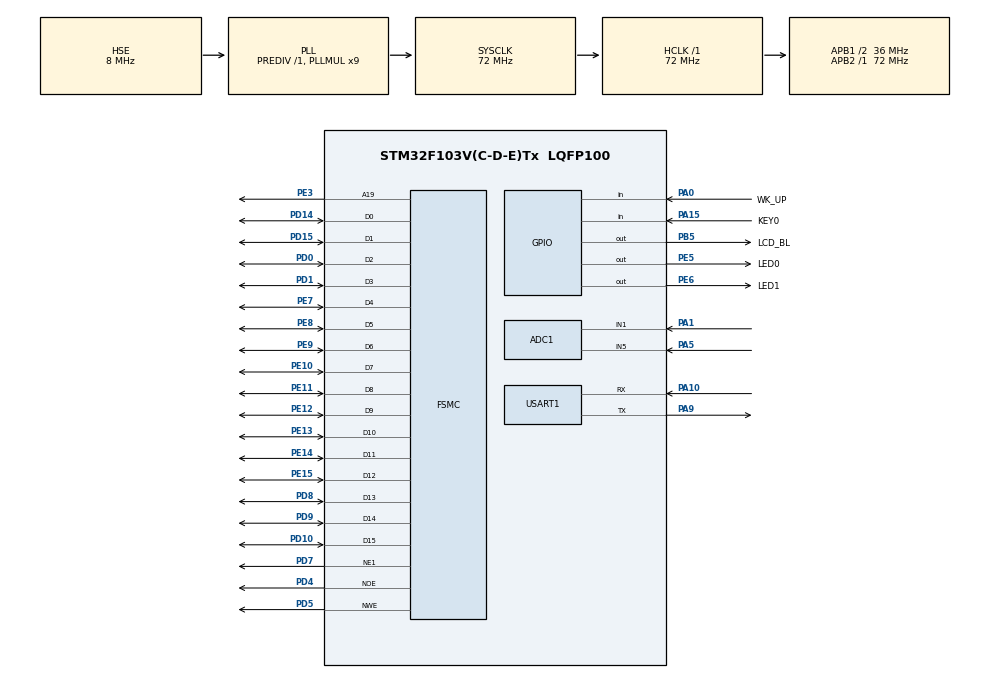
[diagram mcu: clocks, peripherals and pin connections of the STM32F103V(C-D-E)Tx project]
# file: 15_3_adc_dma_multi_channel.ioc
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ADC1.Channel-0\#ChannelRegularConversion=ADC_CHANNEL_1
ADC1.Channel-1\#ChannelRegularConversion=ADC_CHANNEL_5
ADC1.ContinuousConvMode=ENABLE
ADC1.NbrOfConversion=2
ADC1.NbrOfConversionFlag=1
ADC1.Rank-0\#ChannelRegularConversion=1
ADC1.Rank-1\#ChannelRegularConversion=2
ADC1.SamplingTime-0\#ChannelRegularConversion=ADC_SAMPLETIME_239CYCLES_5
ADC1.SamplingTime-1\#ChannelRegularConversion=ADC_SAMPLETIME_239CYCLES_5
ADC1.master=1
Dma.ADC1.0.Direction=DMA_PERIPH_TO_MEMORY
Dma.ADC1.0.Instance=DMA1_Channel1
Dma.ADC1.0.MemDataAlignment=DMA_MDATAALIGN_HALFWORD
Dma.ADC1.0.MemInc=DMA_MINC_ENABLE
Dma.ADC1.0.Mode=DMA_NORMAL
Dma.ADC1.0.PeriphDataAlignment=DMA_PDATAALIGN_HALFWORD
Dma.ADC1.0.PeriphInc=DMA_PINC_DISABLE
Dma.ADC1.0.Priority=DMA_PRIORITY_MEDIUM
Dma.Request0=ADC1
FSMC.AddressSetupTime1=0
FSMC.DataSetupTime1=15
FSMC.ExtendedAddressSetupTime1=0
FSMC.ExtendedDataSetupTime1=1
FSMC.ExtendedMode1=FSMC_EXTENDED_MODE_ENABLE
Mcu.Family=STM32F1
Mcu.Name=STM32F103V(C-D-E)Tx
Mcu.Package=LQFP100
NVIC.DMA1_Channel1_IRQn=true\:2\:1\:true\:false\:true\:false\:true\:true
NVIC.PriorityGroup=NVIC_PRIORITYGROUP_2
NVIC.USART1_IRQn=true\:2\:2\:true\:false\:true\:true\:true\:true
OSC_IN.Mode=HSE-External-Oscillator
OSC_IN.Signal=RCC_OSC_IN
OSC_OUT.Mode=HSE-External-Oscillator
OSC_OUT.Signal=RCC_OSC_OUT
PA0-WKUP.GPIO_Label=WK_UP
PA0-WKUP.GPIO_PuPd=GPIO_PULLDOWN
PA0-WKUP.Signal=GPIO_Input
PA1.Signal=ADCx_IN1
PA10.Mode=Asynchronous
PA10.Signal=USART1_RX
PA13.Mode=Serial_Wire
PA13.Signal=SYS_JTMS-SWDIO
PA14.Mode=Serial_Wire
PA14.Signal=SYS_JTCK-SWCLK
PA15.GPIO_Label=KEY0
PA15.GPIO_PuPd=GPIO_PULLDOWN
PA15.Signal=GPIO_Input
PA5.Signal=ADCx_IN5
PA9.Mode=Asynchronous
PA9.Signal=USART1_TX
PB5.GPIO_Label=LCD_BL
PB5.GPIO_PuPd=GPIO_PULLUP
PB5.GPIO_Speed=GPIO_SPEED_FREQ_HIGH
PB5.PinState=GPIO_PIN_SET
PB5.Signal=GPIO_Output
PC14-OSC32_IN.Mode=LSE-External-Oscillator
PC14-OSC32_IN.Signal=RCC_OSC32_IN
PC15-OSC32_OUT.Mode=LSE-External-Oscillator
PC15-OSC32_OUT.Signal=RCC_OSC32_OUT
PD0.Mode=16b-d1
PD0.Signal=FSMC_D2
PD1.Mode=16b-d1
PD1.Signal=FSMC_D3
PD10.Mode=16b-d1
PD10.Signal=FSMC_D15
PD14.Mode=16b-d1
PD14.Signal=FSMC_D0
PD15.Mode=16b-d1
PD15.Signal=FSMC_D1
PD4.Mode=Lcd1
PD4.Signal=FSMC_NOE
PD5.Mode=Lcd1
PD5.Signal=FSMC_NWE
PD7.Mode=NorPsramChipSelect1_1
PD7.Signal=FSMC_NE1
PD8.Mode=16b-d1
PD8.Signal=FSMC_D13
PD9.Mode=16b-d1
PD9.Signal=FSMC_D14
PE10.Mode=16b-d1
PE10.Signal=FSMC_D7
PE11.Mode=16b-d1
PE11.Signal=FSMC_D8
PE12.Mode=16b-d1
PE12.Signal=FSMC_D9
PE13.Mode=16b-d1
PE13.Signal=FSMC_D10
PE14.Mode=16b-d1
PE14.Signal=FSMC_D11
PE15.Mode=16b-d1
PE15.Signal=FSMC_D12
PE3.Mode=A19_1
PE3.Signal=FSMC_A19
PE5.GPIO_Label=LED0
PE5.GPIO_PuPd=GPIO_PULLUP
PE5.GPIO_Speed=GPIO_SPEED_FREQ_HIGH
PE5.PinState=GPIO_PIN_SET
PE5.Signal=GPIO_Output
PE6.GPIO_Label=LED1
PE6.GPIO_PuPd=GPIO_PULLUP
PE6.GPIO_Speed=GPIO_SPEED_FREQ_HIGH
PE6.PinState=GPIO_PIN_SET
PE6.Signal=GPIO_Output
PE7.Mode=16b-d1
PE7.Signal=FSMC_D4
PE8.Mode=16b-d1
PE8.Signal=FSMC_D5
PE9.Mode=16b-d1
PE9.Signal=FSMC_D6
ProjectManager.HeapSize=0x200
ProjectManager.StackSize=0x400
ProjectManager.TargetToolchain=STM32CubeIDE
RCC.AHBFreq_Value=72000000
RCC.APB1CLKDivider=RCC_HCLK_DIV2
RCC.APB1Freq_Value=36000000
RCC.APB1TimFreq_Value=72000000
RCC.APB2Freq_Value=72000000
RCC.APB2TimFreq_Value=72000000
RCC.HCLKFreq_Value=72000000
RCC.PLLMUL=RCC_PLL_MUL9
RCC.PLLSourceVirtual=RCC_PLLSOURCE_HSE
RCC.SYSCLKFreq_VALUE=72000000
RCC.SYSCLKSource=RCC_SYSCLKSOURCE_PLLCLK
RCC.USBFreq_Value=72000000
SH.ADCx_IN1.0=ADC1_IN1,IN1
SH.ADCx_IN5.0=ADC1_IN5,IN5
USART1.VirtualMode=VM_ASYNC
board=custom

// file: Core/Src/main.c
/* USER CODE BEGIN Header */
/**
 ****************************************************************************************************
 * @file        main.c
 * @author      ALIENTEK
 * @brief       adc_dma_multi_channel code
 * @license     Copyright (C) 2012-2024, ALIENTEK
 ****************************************************************************************************
 * @attention
 *
 * platform     : ALIENTEK M100-STM32F103 board
 * website      : www.alientek.com
 * forum        : www.openedv.com/forum.php
 *
 * change logs  :
 * version      data         notes
 * V1.0         20240409     the first version
 *
 ****************************************************************************************************
 */
/* USER CODE END Header */
#include "main.h"
#include "adc.h"
#include "dma.h"
#include "usart.h"
#include "gpio.h"
#include "fsmc.h"

/* USER CODE BEGIN Includes */
#include "../../BSP/LED/led.h"
#include "../../BSP/KEY/key.h"
#include "../../BSP/LCD/lcd.h"
/* USER CODE END Includes */

/* USER CODE BEGIN PV */

#define ADC_DMA_BUF_SIZE      2 * 50             /* ADC DMA buffer size */
static uint16_t g_adc_dma_buf[ADC_DMA_BUF_SIZE]; /* ADC DMA buffer */

extern uint8_t g_adc_dma_sta; /* DMA transfer completion flag */
extern DMA_HandleTypeDef hdma_adc1;
/* USER CODE END PV */

void SystemClock_Config(void);

/* USER CODE BEGIN 0 */
/**
 * @brief   Displays information about the experiment
 * @param   None
 * @retval  None
 */
void stm32f103ve_show_mesg(void)
{
	/* The serial port outputs the experimental information */
	printf("\n");
	printf("********************************\r\n");
	printf("STM32F103\r\n");
	printf("ADC_DMA_Multi_Channel Test\r\n");
	printf("ATOM@ALIENTEK\r\n");
	printf("********************************\r\n");
	printf("\r\n");
}
/* USER CODE END 0 */

int main(void)
{
  /* USER CODE BEGIN 1 */
  uint8_t j;
  uint16_t i;
  uint32_t sum;
  uint16_t adcdata;
  float temp;
  /* USER CODE END 1 */

  /* MCU Configuration--------------------------------------------------------*/

  /* Reset of all peripherals, Initializes the Flash interface and the Systick. */
  HAL_Init();

  /* Configure the system clock */
  SystemClock_Config();

  /* Initialize all configured peripherals */
  MX_GPIO_Init();
  MX_DMA_Init();
  MX_USART1_UART_Init();
  MX_FSMC_Init();
  MX_ADC1_Init();
  /* USER CODE BEGIN 2 */
  lcd_init();                                     /* Initialize LCD */
  stm32f103ve_show_mesg();
  HAL_DMA_Start_IT(&hdma_adc1, (uint32_t)&ADC1->DR, (uint32_t)&g_adc_dma_buf, 0);
  HAL_ADC_Start_DMA(&hadc1, (uint32_t *)g_adc_dma_buf, ADC_DMA_BUF_SIZE);

  lcd_show_string(30, 50, 200, 16, 16, "STM32", RED);
  lcd_show_string(30, 70, 200, 16, 16, "ADC DMA TEST", RED);
  lcd_show_string(30, 90, 200, 16, 16, "ATOM@ALIENTEK", RED);

  lcd_show_string(30, 110, 200, 16, 16, "ADC1_CH1_VAL:0", BLUE);
  lcd_show_string(30, 130, 200, 16, 16, "ADC1_CH1_VOL:0.000V", BLUE);

  lcd_show_string(30, 150, 200, 16, 16, "ADC1_CH5_VAL:0", BLUE);
  lcd_show_string(30, 170, 200, 16, 16, "ADC1_CH5_VOL:0.000V", BLUE);

  adc_dma_enable(ADC_DMA_BUF_SIZE);   /* Start the ADC DMA acquisition */
  /* USER CODE END 2 */

  /* Infinite loop */
  /* USER CODE BEGIN WHILE */
  while (1)
  {
    if (g_adc_dma_sta == 1)
    {
      for (j = 0; j < 2; j++)
      {
        /* The average value of the ADC data acquired by DMA is calculated */
        sum = 0;

        for (i = 0; i < (ADC_DMA_BUF_SIZE / 2); i++) /* The multiple sampled values of the ADC are mean-filtered */
        {
          sum += g_adc_dma_buf[(2 * i) + j];
        }

        adcdata = sum / (ADC_DMA_BUF_SIZE / 2);     /* averaging */

        /* displaying results */
        lcd_show_xnum(134, 110 + (j * 40), adcdata, 4, 16, 0, BLUE);

        temp = (float)adcdata * (3.3 / 4096 ) ;    /* Calculate the actual voltage value (1000 times larger) */
        adcdata = temp;
        lcd_show_xnum(134, 130 + (j * 40), adcdata, 1, 16, 0, BLUE);

        temp -= adcdata;
        temp *= 1000;
        lcd_show_xnum(150, 130 + (j * 40), temp, 3, 16, 0X80, BLUE);

        g_adc_dma_sta = 0;                         /* Clear the DMA acquisition completion status flag */
        adc_dma_enable(ADC_DMA_BUF_SIZE);
      }
    }

    LED0_TOGGLE();             /* flashing LED0 indicates that the system is running */
    HAL_Delay(500);            /* delay 500ms */
    /* USER CODE END WHILE */

  }
}

void SystemClock_Config(void)
{
  RCC_OscInitTypeDef RCC_OscInitStruct = {0};
  RCC_ClkInitTypeDef RCC_ClkInitStruct = {0};
  RCC_PeriphCLKInitTypeDef PeriphClkInit = {0};

  /** Initializes the RCC Oscillators according to the specified parameters
  * in the RCC_OscInitTypeDef structure.
  */
  RCC_OscInitStruct.OscillatorType = RCC_OSCILLATORTYPE_HSE;
  RCC_OscInitStruct.HSEState = RCC_HSE_ON;
  RCC_OscInitStruct.HSEPredivValue = RCC_HSE_PREDIV_DIV1;
  RCC_OscInitStruct.HSIState = RCC_HSI_ON;
  RCC_OscInitStruct.PLL.PLLState = RCC_PLL_ON;
  RCC_OscInitStruct.PLL.PLLSource = RCC_PLLSOURCE_HSE;
  RCC_OscInitStruct.PLL.PLLMUL = RCC_PLL_MUL9;
  if (HAL_RCC_OscConfig(&RCC_OscInitStruct) != HAL_OK)
  {
    Error_Handler();
  }

  /** Initializes the CPU, AHB and APB buses clocks
  */
  RCC_ClkInitStruct.ClockType = RCC_CLOCKTYPE_HCLK|RCC_CLOCKTYPE_SYSCLK
                              |RCC_CLOCKTYPE_PCLK1|RCC_CLOCKTYPE_PCLK2;
  RCC_ClkInitStruct.SYSCLKSource = RCC_SYSCLKSOURCE_PLLCLK;
  RCC_ClkInitStruct.AHBCLKDivider = RCC_SYSCLK_DIV1;
  RCC_ClkInitStruct.APB1CLKDivider = RCC_HCLK_DIV2;
  RCC_ClkInitStruct.APB2CLKDivider = RCC_HCLK_DIV1;

  if (HAL_RCC_ClockConfig(&RCC_ClkInitStruct, FLASH_LATENCY_2) != HAL_OK)
  {
    Error_Handler();
  }
  PeriphClkInit.PeriphClockSelection = RCC_PERIPHCLK_ADC;
  PeriphClkInit.AdcClockSelection = RCC_ADCPCLK2_DIV2;
  if (HAL_RCCEx_PeriphCLKConfig(&PeriphClkInit) != HAL_OK)
  {
    Error_Handler();
  }
}

void Error_Handler(void)
{
  __disable_irq();
  while (1)
  {
  }
}
